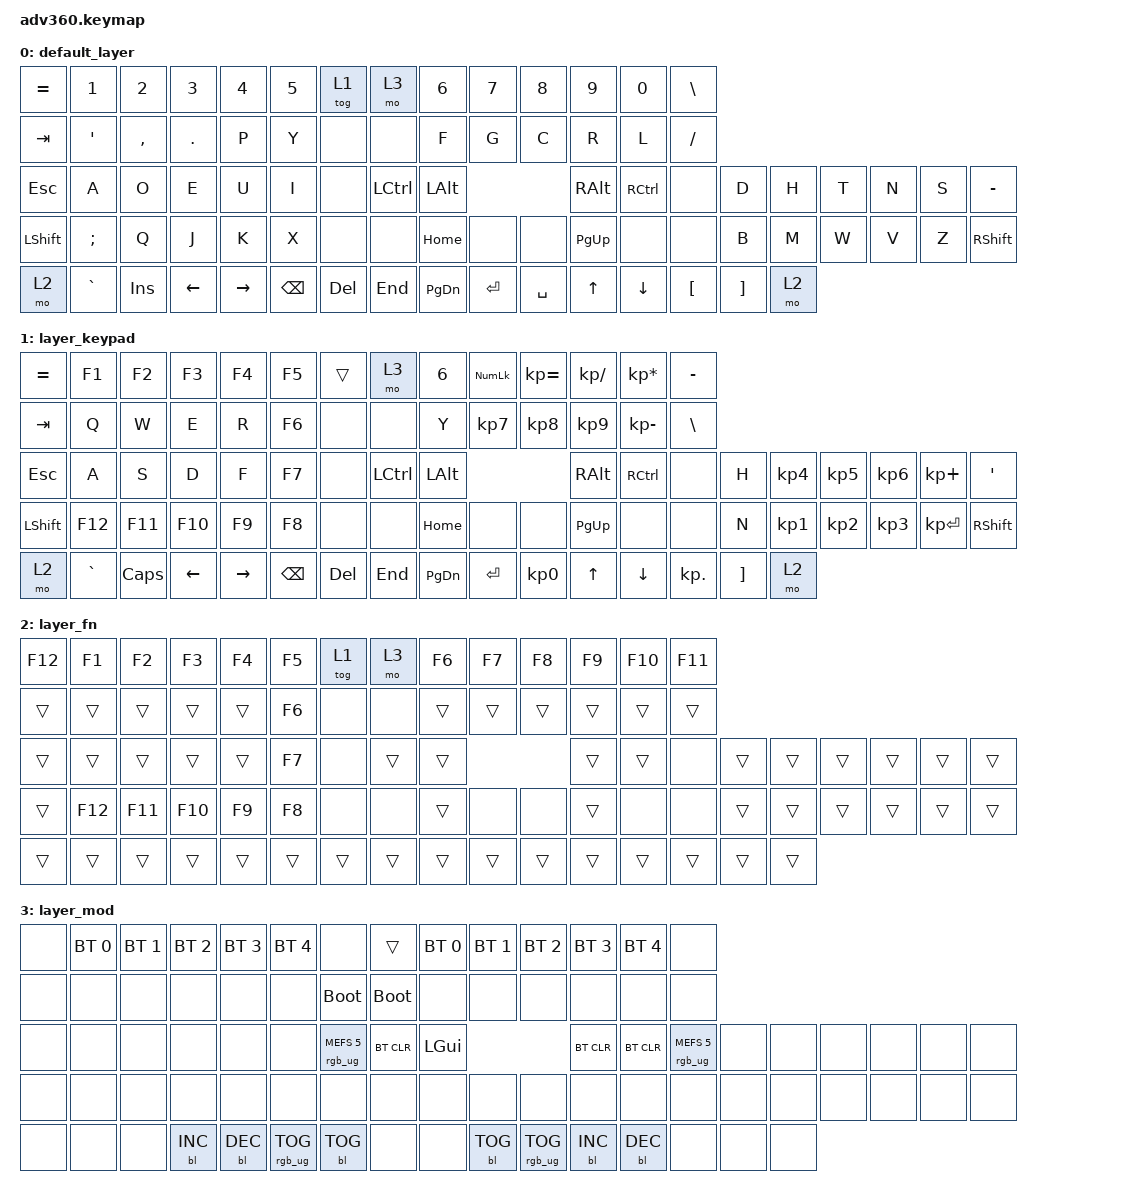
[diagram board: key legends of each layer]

/*
 * Copyright (c) 2020 The ZMK Contributors
 *
 * SPDX-License-Identifier: MIT
 */


/* THIS FILE WAS GENERATED!
 *
 * This file was generated automatically. You may or may not want to
 * edit it directly.
 */

#include <behaviors.dtsi>
#include <dt-bindings/zmk/keys.h>
#include <dt-bindings/zmk/bt.h>
#include <dt-bindings/zmk/rgb.h>
#include <dt-bindings/zmk/backlight.h>

/ {
  behaviors {
    #include "macros.dtsi"

    hm: homerow_mods {
        compatible = "zmk,behavior-hold-tap";
        label = "HOMEROW_MODS";
        #binding-cells = <2>;
        tapping-term-ms = <200>;
        quick_tap_ms = <175>;
        flavor = "tap-preferred";
        bindings = <&kp>, <&kp>;
    };
  };

    keymap {
        compatible = "zmk,keymap";


        default_layer {
            bindings = <
 &kp EQUAL            &kp N1     &kp N2    &kp N3     &kp N4    &kp N5             &tog 1      &mo 3     &kp N6     &kp N7     &kp N8     &kp N9     &kp N0  &kp BACKSLASH
   &kp TAB  &kp SINGLE_QUOTE  &kp COMMA   &kp DOT      &kp P     &kp Y              &none      &none      &kp F      &kp G      &kp C      &kp R      &kp L      &kp SLASH
   &kp ESC             &kp A      &kp O     &kp E      &kp U     &kp I              &none  &kp LCTRL   &kp LALT                         &kp RALT  &kp RCTRL          &none     &kp D   &kp H   &kp T   &kp N   &kp S  &kp MINUS
 &kp LSHFT     &kp SEMICOLON      &kp Q     &kp J      &kp K     &kp X              &none      &none   &kp HOME      &none      &none  &kp PG_UP      &none          &none     &kp B   &kp M   &kp W   &kp V   &kp Z  &kp RSHFT
     &mo 2         &kp GRAVE    &kp INS  &kp LEFT  &kp RIGHT  &kp BSPC            &kp DEL    &kp END  &kp PG_DN  &kp ENTER  &kp SPACE     &kp UP   &kp DOWN       &kp LBKT  &kp RBKT   &mo 2
            >;
        };

        layer_keypad {
            bindings = <
 &kp EQUAL     &kp F1    &kp F2    &kp F3     &kp F4    &kp F5             &trans      &mo 3     &kp N6  &kp KP_NUM  &kp KP_EQUAL  &kp KP_DIVIDE  &kp KP_MULTIPLY   &kp MINUS
   &kp TAB      &kp Q     &kp W     &kp E      &kp R    &kp F6              &none      &none      &kp Y   &kp KP_N7     &kp KP_N8      &kp KP_N9     &kp KP_MINUS    &kp BSLH
   &kp ESC      &kp A     &kp S     &kp D      &kp F    &kp F7              &none  &kp LCTRL   &kp LALT                                 &kp RALT        &kp RCTRL       &none     &kp H  &kp KP_N4  &kp KP_N5  &kp KP_N6   &kp KP_PLUS    &kp SQT
 &kp LSHFT    &kp F12   &kp F11   &kp F10     &kp F9    &kp F8              &none      &none   &kp HOME       &none         &none      &kp PG_UP            &none       &none     &kp N  &kp KP_N1  &kp KP_N2  &kp KP_N3  &kp KP_ENTER  &kp RSHFT
     &mo 2  &kp GRAVE  &kp CAPS  &kp LEFT  &kp RIGHT  &kp BSPC            &kp DEL    &kp END  &kp PG_DN   &kp ENTER     &kp KP_N0         &kp UP         &kp DOWN  &kp KP_DOT  &kp RBKT      &mo 2
            >;
        };

        layer_fn {
            bindings = <
 &kp F12   &kp F1   &kp F2   &kp F3  &kp F4  &kp F5            &tog 1   &mo 3  &kp F6  &kp F7  &kp F8  &kp F9  &kp F10  &kp F11
  &trans   &trans   &trans   &trans  &trans  &kp F6             &none   &none  &trans  &trans  &trans  &trans   &trans   &trans
  &trans   &trans   &trans   &trans  &trans  &kp F7             &none  &trans  &trans                  &trans   &trans    &none  &trans  &trans  &trans  &trans  &trans  &trans
  &trans  &kp F12  &kp F11  &kp F10  &kp F9  &kp F8             &none   &none  &trans   &none   &none  &trans    &none    &none  &trans  &trans  &trans  &trans  &trans  &trans
  &trans   &trans   &trans   &trans  &trans  &trans            &trans  &trans  &trans  &trans  &trans  &trans   &trans   &trans  &trans  &trans
            >;
        };

        layer_mod {
            bindings = <
  &none  &bt BT_SEL 0  &bt BT_SEL 1  &bt BT_SEL 2  &bt BT_SEL 3     &bt BT_SEL 4                             &none       &trans  &bt BT_SEL 0  &bt BT_SEL 1     &bt BT_SEL 2  &bt BT_SEL 3  &bt BT_SEL 4                   &none
  &none         &none         &none         &none         &none            &none                       &bootloader  &bootloader         &none         &none            &none         &none         &none                   &none
  &none         &none         &none         &none         &none            &none            &rgb_ug RGB_MEFS_CMD 5   &bt BT_CLR  &kp LEFT_GUI                                   &bt BT_CLR    &bt BT_CLR  &rgb_ug RGB_MEFS_CMD 5   &none   &none   &none   &none   &none   &none
  &none         &none         &none         &none         &none            &none                             &none        &none         &none         &none            &none         &none         &none                   &none   &none   &none   &none   &none   &none   &none
  &none         &none         &none    &bl BL_INC    &bl BL_DEC  &rgb_ug RGB_TOG                        &bl BL_TOG        &none         &none    &bl BL_TOG  &rgb_ug RGB_TOG    &bl BL_INC    &bl BL_DEC                   &none   &none   &none
            >;
        };

    };
};
